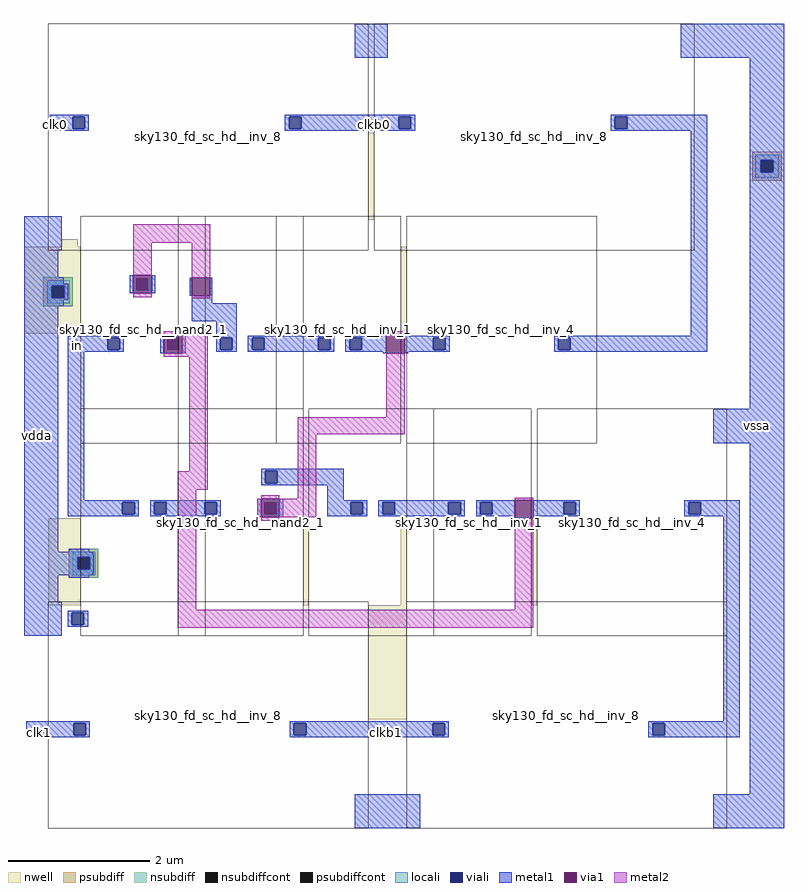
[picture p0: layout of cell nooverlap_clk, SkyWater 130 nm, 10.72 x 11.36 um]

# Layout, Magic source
magic
tech sky130A
magscale 1 2
<< nwell >>
rect 1944 1394 1960 1639
rect 1078 1318 1124 1339
rect 972 1073 1132 1318
rect 2036 1073 2052 1318
rect 1040 465 1132 551
rect 1040 383 1181 465
rect 1040 306 1132 383
rect 1760 306 1776 551
rect 2036 306 2052 551
rect 2404 306 2420 551
rect 1944 -15 2052 306
<< psubdiff >>
rect 3028 1562 3110 1586
rect 3028 1528 3052 1562
rect 3086 1528 3110 1562
rect 3028 1504 3110 1528
<< nsubdiff >>
rect 1027 1208 1109 1232
rect 1027 1174 1051 1208
rect 1085 1174 1109 1208
rect 1027 1150 1109 1174
rect 1099 441 1181 465
rect 1099 407 1123 441
rect 1157 407 1181 441
rect 1099 383 1181 407
<< psubdiffcont >>
rect 3052 1528 3086 1562
<< nsubdiffcont >>
rect 1051 1174 1085 1208
rect 1123 407 1157 441
<< locali >>
rect 3036 1562 3102 1578
rect 3036 1528 3052 1562
rect 3086 1528 3102 1562
rect 3036 1512 3102 1528
rect 1037 1208 1101 1224
rect 1037 1174 1051 1208
rect 1085 1174 1101 1208
rect 1037 1158 1101 1174
rect 1109 441 1173 457
rect 1109 407 1123 441
rect 1157 407 1173 441
rect 1109 391 1173 407
<< viali >>
rect 1109 1651 1143 1685
rect 1720 1651 1754 1685
rect 2030 1651 2064 1685
rect 2640 1651 2674 1685
rect 3052 1528 3086 1562
rect 1051 1174 1085 1208
rect 1289 1195 1323 1229
rect 1208 1027 1242 1061
rect 1376 1027 1410 1061
rect 1526 1027 1560 1061
rect 1616 1027 1650 1061
rect 1802 1027 1836 1061
rect 1891 1027 1925 1061
rect 2127 1027 2161 1061
rect 2480 1027 2514 1061
rect 1653 651 1687 685
rect 1250 563 1284 597
rect 1340 563 1374 597
rect 1482 563 1516 597
rect 1650 563 1684 597
rect 1894 563 1928 597
rect 1984 563 2018 597
rect 2170 563 2204 597
rect 2260 563 2294 597
rect 2495 563 2529 597
rect 2848 563 2882 597
rect 1123 407 1157 441
rect 1107 251 1141 285
rect 1112 -61 1146 -27
rect 1734 -61 1768 -27
rect 2125 -61 2159 -27
rect 2746 -61 2780 -27
<< metal1 >>
rect 1906 1852 1998 1948
rect 2826 1852 3117 1948
rect 1045 1685 1155 1691
rect 1045 1651 1109 1685
rect 1143 1651 1155 1685
rect 1045 1645 1155 1651
rect 1708 1685 2076 1691
rect 1708 1651 1720 1685
rect 1754 1651 2030 1685
rect 2064 1651 2076 1685
rect 1708 1645 2076 1651
rect 2628 1685 2900 1691
rect 2628 1651 2640 1685
rect 2674 1651 2900 1685
rect 2628 1645 2900 1651
rect 972 1308 1078 1404
rect 972 1232 1068 1308
rect 972 1214 1084 1232
rect 972 1208 1097 1214
rect 972 1174 1051 1208
rect 1085 1174 1097 1208
rect 1270 1186 1280 1238
rect 1332 1186 1342 1238
rect 1440 1179 1446 1231
rect 1498 1179 1504 1231
rect 972 1168 1097 1174
rect 972 1150 1084 1168
rect 1446 1159 1504 1179
rect 972 457 1068 1150
rect 1446 1107 1572 1159
rect 1096 1061 1254 1067
rect 1096 1027 1208 1061
rect 1242 1027 1254 1061
rect 1096 1021 1254 1027
rect 1096 603 1142 1021
rect 1357 1018 1367 1070
rect 1419 1018 1429 1070
rect 1514 1061 1572 1107
rect 1985 1067 1995 1070
rect 1514 1027 1526 1061
rect 1560 1027 1572 1061
rect 1514 1021 1572 1027
rect 1604 1061 1848 1067
rect 1604 1027 1616 1061
rect 1650 1027 1802 1061
rect 1836 1027 1848 1061
rect 1604 1021 1848 1027
rect 1879 1061 1995 1067
rect 1879 1027 1891 1061
rect 1925 1027 1995 1061
rect 1879 1021 1995 1027
rect 1985 1018 1995 1021
rect 2047 1067 2057 1070
rect 2854 1067 2900 1645
rect 2047 1061 2173 1067
rect 2047 1027 2127 1061
rect 2161 1027 2173 1061
rect 2047 1021 2173 1027
rect 2468 1061 2900 1067
rect 2468 1027 2480 1061
rect 2514 1027 2900 1061
rect 2468 1021 2900 1027
rect 3021 1562 3117 1852
rect 3021 1528 3052 1562
rect 3086 1528 3117 1562
rect 2047 1018 2057 1021
rect 3021 860 3117 1528
rect 2918 764 3117 860
rect 1641 685 1874 691
rect 1641 651 1653 685
rect 1687 651 1874 685
rect 1641 645 1874 651
rect 1096 597 1296 603
rect 1096 563 1250 597
rect 1284 563 1296 597
rect 1096 557 1296 563
rect 1328 597 1528 603
rect 1328 563 1340 597
rect 1374 563 1482 597
rect 1516 563 1528 597
rect 1328 557 1528 563
rect 1631 554 1641 606
rect 1693 554 1703 606
rect 1828 603 1874 645
rect 1828 597 1941 603
rect 1828 563 1894 597
rect 1928 563 1941 597
rect 1828 557 1941 563
rect 1972 597 2216 603
rect 1972 563 1984 597
rect 2018 563 2170 597
rect 2204 563 2216 597
rect 1972 557 2216 563
rect 2248 597 2357 603
rect 2248 563 2260 597
rect 2294 563 2357 597
rect 2248 557 2357 563
rect 2351 551 2357 557
rect 2409 597 2541 603
rect 2409 563 2495 597
rect 2529 563 2541 597
rect 2409 557 2541 563
rect 2836 597 2992 603
rect 2836 563 2848 597
rect 2882 563 2992 597
rect 2836 557 2992 563
rect 2409 551 2415 557
rect 1098 457 1156 465
rect 972 447 1168 457
rect 972 441 1169 447
rect 972 407 1123 441
rect 1157 407 1169 441
rect 972 401 1169 407
rect 972 391 1168 401
rect 972 316 1068 391
rect 1098 383 1156 391
rect 972 220 1078 316
rect 1095 285 1153 291
rect 1095 251 1107 285
rect 1141 251 1153 285
rect 1095 245 1153 251
rect 2946 -21 2992 557
rect 978 -27 1158 -21
rect 978 -61 1112 -27
rect 1146 -61 1158 -27
rect 978 -67 1158 -61
rect 1722 -27 2171 -21
rect 1722 -61 1734 -27
rect 1768 -61 2125 -27
rect 2159 -61 2171 -27
rect 1722 -67 2171 -61
rect 2734 -27 2992 -21
rect 2734 -61 2746 -27
rect 2780 -61 2992 -27
rect 2734 -67 2992 -61
rect 3021 -228 3117 764
rect 1906 -324 2090 -228
rect 2918 -324 3117 -228
<< via1 >>
rect 1280 1229 1332 1238
rect 1280 1195 1289 1229
rect 1289 1195 1323 1229
rect 1323 1195 1332 1229
rect 1280 1186 1332 1195
rect 1446 1179 1498 1231
rect 1367 1061 1419 1070
rect 1367 1027 1376 1061
rect 1376 1027 1410 1061
rect 1410 1027 1419 1061
rect 1367 1018 1419 1027
rect 1995 1018 2047 1070
rect 1641 597 1693 606
rect 1641 563 1650 597
rect 1650 563 1684 597
rect 1684 563 1693 597
rect 1641 554 1693 563
rect 2357 551 2409 603
<< metal2 >>
rect 1280 1329 1498 1381
rect 1280 1238 1332 1329
rect 1280 1176 1332 1186
rect 1446 1231 1498 1329
rect 1446 1173 1498 1179
rect 1367 1070 1491 1080
rect 1419 1018 1491 1070
rect 1367 1008 1491 1018
rect 1439 684 1491 1008
rect 1995 1070 2047 1080
rect 1995 836 2047 1018
rect 1406 632 1491 684
rect 1745 789 2047 836
rect 1406 294 1458 632
rect 1641 606 1693 616
rect 1745 606 1797 789
rect 1631 554 1641 606
rect 1693 554 1797 606
rect 2357 603 2409 609
rect 1641 544 1693 554
rect 2357 294 2409 551
rect 1406 242 2409 294
use sky130_fd_sc_hd__nand2_1  x1 $PDKPATH/libs.ref/sky130_fd_sc_hd/mag
transform -1 0 1446 0 1 812
box -38 -48 314 592
use sky130_fd_sc_hd__nand2_1  x2
transform 1 0 1446 0 -1 812
box -38 -48 314 592
use sky130_fd_sc_hd__inv_1  x3 $PDKPATH/libs.ref/sky130_fd_sc_hd/mag
transform 1 0 1170 0 -1 812
box -38 -48 314 592
use sky130_fd_sc_hd__inv_1  x4
transform 1 0 1446 0 1 812
box -38 -48 314 592
use sky130_fd_sc_hd__inv_1  x5
transform 1 0 1814 0 -1 812
box -38 -48 314 592
use sky130_fd_sc_hd__inv_1  x6
transform 1 0 1722 0 1 812
box -38 -48 314 592
use sky130_fd_sc_hd__inv_1  x7
transform 1 0 2090 0 -1 812
box -38 -48 314 592
use sky130_fd_sc_hd__inv_4  x8 $PDKPATH/libs.ref/sky130_fd_sc_hd/mag
transform 1 0 2090 0 1 812
box -38 -48 498 592
use sky130_fd_sc_hd__inv_4  x9
transform 1 0 2458 0 -1 812
box -38 -48 498 592
use sky130_fd_sc_hd__inv_8  x10 $PDKPATH/libs.ref/sky130_fd_sc_hd/mag
transform -1 0 2826 0 -1 1900
box -38 -48 866 592
use sky130_fd_sc_hd__inv_8  x11
transform 1 0 2090 0 1 -276
box -38 -48 866 592
use sky130_fd_sc_hd__inv_8  x12
transform -1 0 1906 0 -1 1900
box -38 -48 866 592
use sky130_fd_sc_hd__inv_8  x13
transform 1 0 1078 0 1 -276
box -38 -48 866 592
<< labels >>
flabel metal1 3040 812 3040 812 0 FreeSans 1600 0 0 0 vssa
port 1 nsew
flabel metal1 1124 1039 1124 1039 0 FreeSans 800 0 0 0 in
port 2 nsew
flabel metal1 1017 -54 1017 -54 0 FreeSans 800 0 0 0 clk1
port 3 nsew
flabel metal1 1995 -52 1995 -52 0 FreeSans 800 0 0 0 clkb1
port 4 nsew
flabel metal1 1962 1664 1962 1664 0 FreeSans 800 0 0 0 clkb0
port 5 nsew
flabel metal1 1062 1663 1062 1663 0 FreeSans 800 0 0 0 clk0
port 6 nsew
flabel metal1 1006 784 1006 784 0 FreeSans 1600 0 0 0 vdda
port 0 nsew
<< end >>
